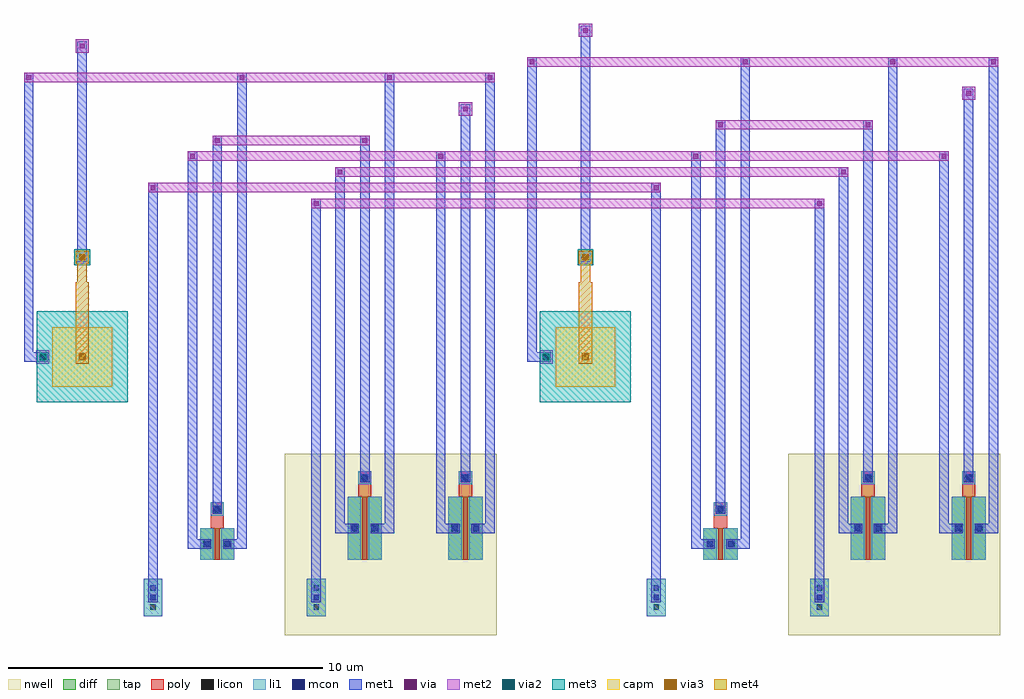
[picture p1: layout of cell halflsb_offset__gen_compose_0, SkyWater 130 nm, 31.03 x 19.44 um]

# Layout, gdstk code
import gdstk
lib = gdstk.Library(unit=1e-6, precision=1e-09)
def R(c, l, rs):  # rectangles x0, y0, x1, y1
    for r in rs: c.add(gdstk.rectangle(r[:2], r[2:], *l))
nwell = (64, 20)
diff = (65, 20)
tap = (65, 44)
poly = (66, 20)
licon = (66, 44)
li1 = (67, 20)
mcon = (67, 44)
met1 = (68, 20)
via = (68, 44)
met2 = (69, 20)
via2 = (69, 44)
met3 = (70, 20)
via3 = (70, 44)
met4 = (71, 20)
capm = (89, 44)

route__route_2 = lib.new_cell('route__ROUTE$2')
R(route__route_2, nwell, [(7.89,-2.4,14.63,3.37), (23.89,-2.4,30.63,3.37)])
R(route__route_2, tap, [(3.4,-1.8,4,-0.6), (8.59,-1.8,9.19,-0.6), (19.4,-1.8,20,-0.6), (24.59,-1.8,25.19,-0.6)])
R(route__route_2, licon, [(3.615,-1.585,3.785,-1.415), (8.805,-1.585,8.975,-1.415), (19.615,-1.585,19.785,-1.415), (24.805,-1.585,24.975,-1.415), (3.615,-0.985,3.785,-0.815), (8.805,-0.985,8.975,-0.815), (19.615,-0.985,19.785,-0.815), (24.805,-0.985,24.975,-0.815)])
R(route__route_2, li1, [(3.4,-1.8,4,-0.6), (8.59,-1.8,9.19,-0.6), (19.4,-1.8,20,-0.6), (24.59,-1.8,25.19,-0.6)])
R(route__route_2, mcon, [(3.615,-1.285,3.785,-1.115), (8.805,-1.285,8.975,-1.115), (19.615,-1.285,19.785,-1.115), (24.805,-1.285,24.975,-1.115), (5.325,0.415,5.495,0.585), (5.995,0.415,6.165,0.585), (21.325,0.415,21.495,0.585), (21.995,0.415,22.165,0.585), (10.015,0.915,10.185,1.085), (10.685,0.915,10.855,1.085), (13.215,0.915,13.385,1.085), (13.885,0.915,14.055,1.085), (26.015,0.915,26.185,1.085), (26.685,0.915,26.855,1.085), (29.215,0.915,29.385,1.085), (29.885,0.915,30.055,1.085), (5.66,1.525,5.83,1.695), (21.66,1.525,21.83,1.695), (10.35,2.525,10.52,2.695), (13.55,2.525,13.72,2.695), (26.35,2.525,26.52,2.695), (29.55,2.525,29.72,2.695)])
R(route__route_2, met1, [(3.55,-1.35,3.85,-1.05), (3.55,-1.35,3.85,11.98), (8.74,-1.35,9.04,-1.05), (8.74,-1.35,9.04,11.48), (19.55,-1.35,19.85,-1.05), (19.55,-1.35,19.85,11.98), (24.74,-1.35,25.04,-1.05), (24.74,-1.35,25.04,11.48), (4.81,0.35,5.56,0.65), (4.81,0.35,5.11,12.98), (5.93,0.35,6.68,0.65), (6.38,0.35,6.68,15.48), (20.81,0.35,21.56,0.65), (20.81,0.35,21.11,12.98), (21.93,0.35,22.68,0.65), (22.38,0.35,22.68,15.98), (9.5,0.85,10.25,1.15), (9.5,0.85,9.8,12.48), (10.62,0.85,11.37,1.15), (11.07,0.85,11.37,15.48), (12.7,0.85,13.45,1.15), (12.7,0.85,13,12.98), (13.82,0.85,14.57,1.15), (14.27,0.85,14.57,15.48), (25.5,0.85,26.25,1.15), (25.5,0.85,25.8,12.48), (26.62,0.85,27.37,1.15), (27.07,0.85,27.37,15.98), (28.7,0.85,29.45,1.15), (28.7,0.85,29,12.98), (29.82,0.85,30.57,1.15), (30.27,0.85,30.57,15.98), (5.595,1.46,5.895,13.48), (21.595,1.46,21.895,13.98), (10.285,2.46,10.585,13.48), (13.485,2.46,13.785,14.48), (26.285,2.46,26.585,13.98), (29.485,2.46,29.785,14.98), (-0.4,6.299,0.35,6.599), (-0.4,6.299,-0.1,15.48), (0.05,6.299,0.35,6.599), (15.6,6.299,16.35,6.599), (15.6,6.299,15.9,15.98), (16.05,6.299,16.35,6.599), (1.299,9.47,1.599,9.77), (1.299,9.47,1.599,16.48), (17.299,9.47,17.599,9.77), (17.299,9.47,17.599,16.98), (8.74,11.18,9.04,11.48), (24.74,11.18,25.04,11.48), (3.55,11.68,3.85,11.98), (19.55,11.68,19.85,11.98), (9.5,12.18,9.8,12.48), (25.5,12.18,25.8,12.48), (4.81,12.68,5.11,12.98), (12.7,12.68,13,12.98), (20.81,12.68,21.11,12.98), (28.7,12.68,29,12.98), (5.595,13.18,5.895,13.48), (10.285,13.18,10.585,13.48), (21.595,13.68,21.895,13.98), (26.285,13.68,26.585,13.98), (13.485,14.18,13.785,14.48), (29.485,14.68,29.785,14.98), (-0.4,15.18,-0.1,15.48), (6.38,15.18,6.68,15.48), (11.07,15.18,11.37,15.48), (14.27,15.18,14.57,15.48), (15.6,15.68,15.9,15.98), (22.38,15.68,22.68,15.98), (27.07,15.68,27.37,15.98), (30.27,15.68,30.57,15.98), (1.299,16.18,1.599,16.48), (17.299,16.68,17.599,16.98)])
R(route__route_2, via, [(0.125,6.374,0.275,6.524), (16.125,6.374,16.275,6.524), (1.374,9.545,1.524,9.695), (17.374,9.545,17.524,9.695), (8.815,11.255,8.965,11.405), (24.815,11.255,24.965,11.405), (3.625,11.755,3.775,11.905), (19.625,11.755,19.775,11.905), (9.575,12.255,9.725,12.405), (25.575,12.255,25.725,12.405), (4.885,12.755,5.035,12.905), (12.775,12.755,12.925,12.905), (20.885,12.755,21.035,12.905), (28.775,12.755,28.925,12.905), (5.67,13.255,5.82,13.405), (10.36,13.255,10.51,13.405), (21.67,13.755,21.82,13.905), (26.36,13.755,26.51,13.905), (13.56,14.255,13.71,14.405), (29.56,14.755,29.71,14.905), (-0.325,15.255,-0.175,15.405), (6.455,15.255,6.605,15.405), (11.145,15.255,11.295,15.405), (14.345,15.255,14.495,15.405), (15.675,15.755,15.825,15.905), (22.455,15.755,22.605,15.905), (27.145,15.755,27.295,15.905), (30.345,15.755,30.495,15.905), (1.374,16.255,1.524,16.405), (17.374,16.755,17.524,16.905)])
R(route__route_2, met2, [(-0.01,6.239,0.41,6.659), (15.99,6.239,16.41,6.659), (1.239,9.41,1.659,9.83), (17.239,9.41,17.659,9.83), (8.74,11.18,25.04,11.48), (3.55,11.68,19.85,11.98), (9.5,12.18,25.8,12.48), (4.81,12.68,29,12.98), (5.595,13.18,10.585,13.48), (21.595,13.68,26.585,13.98), (13.425,14.12,13.845,14.54), (29.425,14.62,29.845,15.04), (-0.4,15.18,14.57,15.48), (15.6,15.68,30.57,15.98), (1.239,16.12,1.659,16.54), (17.239,16.62,17.659,17.04)])
R(route__route_2, via2, [(0.1,6.349,0.3,6.549), (16.1,6.349,16.3,6.549), (1.349,9.52,1.549,9.72), (17.349,9.52,17.549,9.72)])
R(route__route_2, met3, [(1.199,9.37,1.699,9.87), (17.199,9.37,17.699,9.87)])
R(route__route_2, via3, [(1.349,9.52,1.549,9.72), (17.349,9.52,17.549,9.72)])
R(route__route_2, met4, [(1.299,8.458,1.599,9.77), (17.299,8.458,17.599,9.77), (1.239,9.41,1.659,9.83), (17.239,9.41,17.659,9.83)])
route__route_2.add(gdstk.Label('VDD', (8.89,11.33), layer=69, texttype=5))
route__route_2.add(gdstk.Label('GND', (3.7,11.83), layer=69, texttype=5))
route__route_2.add(gdstk.Label('VREFP', (9.65,12.33), layer=69, texttype=5))
route__route_2.add(gdstk.Label('VCM', (4.96,12.83), layer=69, texttype=5))
route__route_2.add(gdstk.Label('HALF_LSB_EN', (5.745,13.33), layer=69, texttype=5))
route__route_2.add(gdstk.Label('VGND', (21.745,13.83), layer=69, texttype=5))
route__route_2.add(gdstk.Label('HALF_LSB_ENN', (13.635,14.33), layer=69, texttype=5))
route__route_2.add(gdstk.Label('VPWR', (29.635,14.83), layer=69, texttype=5))
route__route_2.add(gdstk.Label('BOT_OFF_N', (-0.25,15.33), layer=69, texttype=5))
route__route_2.add(gdstk.Label('BOT_OFF_P', (15.75,15.83), layer=69, texttype=5))
route__route_2.add(gdstk.Label('TOP_N', (1.449,16.33), layer=69, texttype=5))
route__route_2.add(gdstk.Label('TOP_P', (17.449,16.83), layer=69, texttype=5))

cap_array_2 = lib.new_cell('cap_array$2')
R(cap_array_2, met3, [(0,0,2.898,2.898), (16,0,18.898,2.898)])
R(cap_array_2, via3, [(1.339,1.339,1.559,1.559), (17.339,1.339,17.559,1.559)])
R(cap_array_2, met4, [(1.239,1.239,1.659,1.659), (17.239,1.239,17.659,1.659), (1.239,1.659,1.659,3.398), (17.239,1.659,17.659,3.398), (1.239,3.398,1.659,3.818), (17.239,3.398,17.659,3.818)])
R(cap_array_2, capm, [(0.5,0.5,2.398,2.398), (16.5,0.5,18.398,2.398)])

choff__choff = lib.new_cell('choff__CHOFF')
choff__choff.add(gdstk.Reference(cap_array_2, (0,0)))

mos_array_5_1 = lib.new_cell('mos_array$5$1')
R(mos_array_5_1, nwell, [(-0.15,-0.15,1.24,2.97)])
R(mos_array_5_1, diff, [(0,0,1.09,2)])
R(mos_array_5_1, poly, [(0.47,0,0.62,2), (0.335,2,0.755,2.82)])
R(mos_array_5_1, licon, [(0.1,0.89,0.32,1.11), (0.77,0.89,0.99,1.11), (0.435,2.5,0.655,2.72)])
R(mos_array_5_1, li1, [(0,0,0.42,2), (0.67,0,1.09,2), (0.335,2.4,0.755,2.82)])

moff_p_cmp__moff_p_cmp = lib.new_cell('moff_p_cmp__MOFF_P_CMP')
moff_p_cmp__moff_p_cmp.add(gdstk.Reference(mos_array_5_1, (0,0)))

mos_array_4_1 = lib.new_cell('mos_array$4$1')
R(mos_array_4_1, nwell, [(-0.15,-0.15,1.24,2.97)])
R(mos_array_4_1, diff, [(0,0,1.09,2)])
R(mos_array_4_1, poly, [(0.47,0,0.62,2), (0.335,2,0.755,2.82)])
R(mos_array_4_1, licon, [(0.1,0.89,0.32,1.11), (0.77,0.89,0.99,1.11), (0.435,2.5,0.655,2.72)])
R(mos_array_4_1, li1, [(0,0,0.42,2), (0.67,0,1.09,2), (0.335,2.4,0.755,2.82)])

moff_p_refp__moff_p_refp = lib.new_cell('moff_p_refp__MOFF_P_REFP')
moff_p_refp__moff_p_refp.add(gdstk.Reference(mos_array_4_1, (0,0)))

mos_array_3_1 = lib.new_cell('mos_array$3$1')
R(mos_array_3_1, diff, [(0,0,1.09,1)])
R(mos_array_3_1, poly, [(0.47,0,0.62,1), (0.335,1,0.755,1.82)])
R(mos_array_3_1, licon, [(0.1,0.39,0.32,0.61), (0.77,0.39,0.99,0.61), (0.435,1.5,0.655,1.72)])
R(mos_array_3_1, li1, [(0,0,0.42,1), (0.67,0,1.09,1), (0.335,1.4,0.755,1.82)])

moff_p_cmn__moff_p_cmn = lib.new_cell('moff_p_cmn__MOFF_P_CMN')
moff_p_cmn__moff_p_cmn.add(gdstk.Reference(mos_array_3_1, (0,0)))

mos_array_2_1 = lib.new_cell('mos_array$2$1')
R(mos_array_2_1, nwell, [(-0.15,-0.15,1.24,2.97)])
R(mos_array_2_1, diff, [(0,0,1.09,2)])
R(mos_array_2_1, poly, [(0.47,0,0.62,2), (0.335,2,0.755,2.82)])
R(mos_array_2_1, licon, [(0.1,0.89,0.32,1.11), (0.77,0.89,0.99,1.11), (0.435,2.5,0.655,2.72)])
R(mos_array_2_1, li1, [(0,0,0.42,2), (0.67,0,1.09,2), (0.335,2.4,0.755,2.82)])

moff_n_cmp__moff_n_cmp = lib.new_cell('moff_n_cmp__MOFF_N_CMP')
moff_n_cmp__moff_n_cmp.add(gdstk.Reference(mos_array_2_1, (0,0)))

mos_array_1_1 = lib.new_cell('mos_array$1$1')
R(mos_array_1_1, nwell, [(-0.15,-0.15,1.24,2.97)])
R(mos_array_1_1, diff, [(0,0,1.09,2)])
R(mos_array_1_1, poly, [(0.47,0,0.62,2), (0.335,2,0.755,2.82)])
R(mos_array_1_1, licon, [(0.1,0.89,0.32,1.11), (0.77,0.89,0.99,1.11), (0.435,2.5,0.655,2.72)])
R(mos_array_1_1, li1, [(0,0,0.42,2), (0.67,0,1.09,2), (0.335,2.4,0.755,2.82)])

moff_n_refp__moff_n_refp = lib.new_cell('moff_n_refp__MOFF_N_REFP')
moff_n_refp__moff_n_refp.add(gdstk.Reference(mos_array_1_1, (0,0)))

mos_array_21 = lib.new_cell('mos_array$21')
R(mos_array_21, diff, [(0,0,1.09,1)])
R(mos_array_21, poly, [(0.47,0,0.62,1), (0.335,1,0.755,1.82)])
R(mos_array_21, licon, [(0.1,0.39,0.32,0.61), (0.77,0.39,0.99,0.61), (0.435,1.5,0.655,1.72)])
R(mos_array_21, li1, [(0,0,0.42,1), (0.67,0,1.09,1), (0.335,1.4,0.755,1.82)])

moff_n_cmn__moff_n_cmn = lib.new_cell('moff_n_cmn__MOFF_N_CMN')
moff_n_cmn__moff_n_cmn.add(gdstk.Reference(mos_array_21, (0,0)))

halflsb_offset__gen_comp = lib.new_cell('halflsb_offset__gen_compose_0')
halflsb_offset__gen_comp.add(gdstk.Reference(route__route_2, (0,0)))
halflsb_offset__gen_comp.add(gdstk.Reference(choff__choff, (0,5)))
halflsb_offset__gen_comp.add(gdstk.Reference(moff_p_cmp__moff_p_cmp, (29.09,0)))
halflsb_offset__gen_comp.add(gdstk.Reference(moff_p_refp__moff_p_refp, (25.89,0)))
halflsb_offset__gen_comp.add(gdstk.Reference(moff_p_cmn__moff_p_cmn, (21.2,0)))
halflsb_offset__gen_comp.add(gdstk.Reference(moff_n_cmp__moff_n_cmp, (13.09,0)))
halflsb_offset__gen_comp.add(gdstk.Reference(moff_n_refp__moff_n_refp, (9.89,0)))
halflsb_offset__gen_comp.add(gdstk.Reference(moff_n_cmn__moff_n_cmn, (5.2,0)))

lib.write_gds('halflsb_offset__gen_compose_0.gds')
